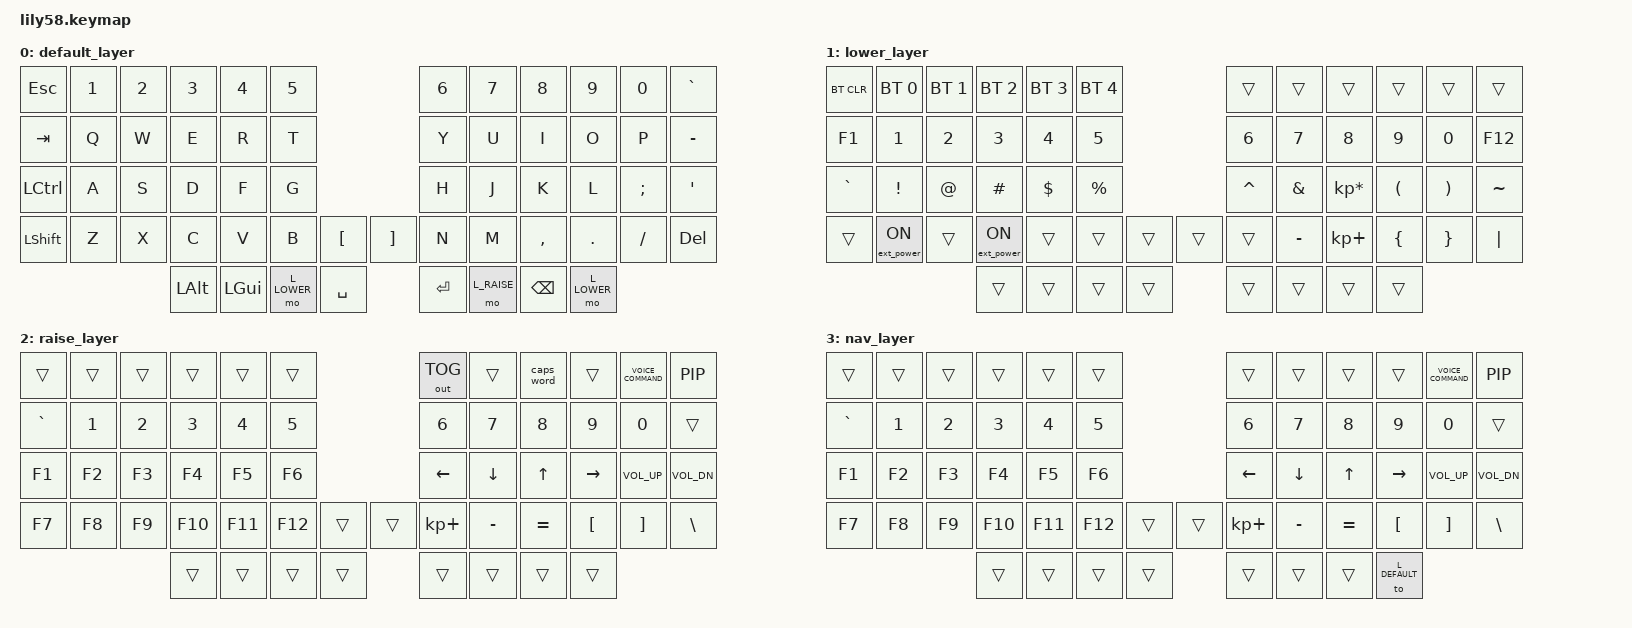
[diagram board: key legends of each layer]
/*
 * Copyright (c) 2020 The ZMK Contributors
 *
 * SPDX-License-Identifier: MIT
 */

#include <behaviors.dtsi>
#include <dt-bindings/zmk/keys.h>
#include <dt-bindings/zmk/bt.h>
#include <dt-bindings/zmk/ext_power.h>
#include <dt-bindings/zmk/outputs.h>

#define L_DEFAULT 0
#define L_LOWER   1
#define L_RAISE   2
#define L_NAV 	  3



// / {
//         ext-power {
//                 init-delay-ms = <50>;
//         };
// };
// &caps_word {
//     continue-list = <UNDERSCORE>;
// };

// &kscan0 {
//     debounce-scan-period-ms = <2>;
//  };

// &sk {
//     release-after-ms = <500>;
// };

/ {


	keymap {
		compatible = "zmk,keymap";

		default_layer {
			// ------------------------------------------------------------------------------------------------------------
			// |  ESC  |  1  |  2  |  3   |  4   |  5   |                   |  6   |  7    |  8    |  9   |   0   |   `   |
			// |  TAB  |  Q  |  W  |  E   |  R   |  T   |                   |  Y   |  U    |  I    |  O   |   P   |   -   |
			// |  CTRL |  A  |  S  |  D   |  F   |  G   |                   |  H   |  J    |  K    |  L   |   ;   |   '   |
			// | SHIFT |  Z  |  X  |  C   |  V   |  B   |   "["  |  |  "]"  |  N   |  M    |  ,    |  .   |   /   | SHIFT |
			//                     | ALT  | GUI  | LOWER|  SPACE |  | ENTER | RAISE| BSPC  | L_LOWER   |
						bindings = <
			&kp ESC    &kp N1 &kp N2 &kp N3   &kp N4   &kp N5                     &kp N6 &kp N7   &kp N8    &kp N9  &kp N0   &kp GRAVE
			&kp TAB    &kp Q  &kp W  &kp E    &kp R    &kp T                      &kp Y  &kp U    &kp I     &kp O   &kp P    &kp MINUS
			&kp LCTRL  &kp A  &kp S  &kp D    &kp F    &kp G                      &kp H  &kp J    &kp K     &kp L   &kp SEMI &kp SQT
			&kp LSHFT  &kp Z  &kp X  &kp C    &kp V    &kp B  &kp LBKT   &kp RBKT &kp N  &kp M    &kp COMMA &kp DOT &kp FSLH &kp DEL 
									&kp LALT  &kp LGUI &mo L_LOWER &kp SPACE  &kp RET  &mo L_RAISE &kp BSPC  &mo L_LOWER
						>;
		};


		
		lower_layer {
			// ------------------------------------------------------------------------------------------------------------
			// | BTCLR | BT1 | BT2 |  BT3 |  BT4 |  BT5 |                   |      |       |       |      |       |       |
			// |  F1   |  F2 |  F3 |  F4  |  F5  |  F6  |                   |  F7  |  F8   |  F9   |  F10 |  F11  |  F12  |
			// |   `   |  !  |  @  |  #   |  $   |  %   |                   |  ^   |  &    |  *    |  (   |   )   |   ~   |
			// |       |     |     |      |      |      |        |  |       |      |  _    |  +    |  {   |   }   |  "|"  |
			//                     |      |      |      |        |  |       |      |       |       |
						bindings = <
			&bt BT_CLR &bt BT_SEL 0     &bt BT_SEL 1      &bt BT_SEL 2      &bt BT_SEL 3 &bt BT_SEL 4                 &trans    &trans    &trans          &trans    &trans    &trans
			&kp F1     &kp N1           &kp N2            &kp N3            &kp N4       &kp N5                       &kp N6    &kp N7    &kp N8          &kp N9    &kp N0    &kp F12
			&kp GRAVE  &kp EXCL         &kp AT            &kp HASH          &kp DOLLAR   &kp PRCNT                    &kp CARET &kp AMPS  &kp KP_MULTIPLY &kp LPAR  &kp RPAR  &kp TILDE
			&trans     &ext_power EP_ON &trans &ext_power EP_ON &trans       &trans    &trans   &trans    &trans    &kp MINUS &kp KP_PLUS     &kp LBRC  &kp RBRC  &kp PIPE
														  &trans            &trans       &trans    &trans   &trans    &trans    &trans    &trans
						>;

		};


		raise_layer {
			// ------------------------------------------------------------------------------------------------------------
			// |       |     |     |      |      |      |                   |outTog|       |CapWord|      | voice |  pip  |
			// |   `   |  1  |  2  |  3   |  4   |  5   |                   |  6   |   7   |   8   |  9   |   0   |   stego    |
			// |   F1  |  F2 |  F3 |  F4  |  F5  |  F6  |                   | <-   |   V   |  ^    |  ->  | vol ^ | Vol V |
			// |   F7  |  F8 |  F9 |  F10 |  F11 |  F12 |        |  |       |  +   |   -   |   =   |  [   |   ]   |   \   |
			//                     |      |      |      |        |  |       |      |       |       |
						bindings = <
			&trans    &trans &trans &trans  &trans  &trans                       &out OUT_TOG &trans &caps_word    &trans    &kp C_VOICE_COMMAND          &kp C_PIP
			&kp GRAVE &kp N1 &kp N2 &kp N3  &kp N4  &kp N5                       &kp N6      &kp N7    &kp N8    &kp N9    &kp N0    	   &trans
			&kp F1    &kp F2 &kp F3 &kp F4  &kp F5  &kp F6                       &kp LEFT  	 &kp DOWN  &kp UP    &kp RIGHT &kp C_VOL_UP    &kp C_VOL_DN
			&kp F7    &kp F8 &kp F9 &kp F10 &kp F11 &kp F12   &trans   &trans    &kp KP_PLUS &kp MINUS &kp EQUAL &kp LBKT  &kp RBKT        &kp BSLH
									&trans  &trans  &trans    &trans   &trans    &trans      &trans    &trans
						>;
};

		nav_layer {
			// ------------------------------------------------------------------------------------------------------------
			// |       |     |     |      |      |      |                   |      |       |       |      | voice |  pip  |
			// |   `   |  1  |  2  |  3   |  4   |  5   |                   |  6   |   7   |   8   |  9   |   0   |       |
			// |   F1  |  F2 |  F3 |  F4  |  F5  |  F6  |                   | <-   |   V   |  ^    |  ->  | vol ^ | Vol V |
			// |   F7  |  F8 |  F9 |  F10 |  F11 |  F12 |        |  |       |  +   |   -   |   =   |  [   |   ]   |   \   |
			//                     |      |      |      |        |  |       |      |       |       |
						bindings = <
			&trans    &trans &trans &trans  &trans  &trans                       &trans      &trans    &trans    &trans    &kp C_VOICE_COMMAND          &kp C_PIP
			&kp GRAVE &kp N1 &kp N2 &kp N3  &kp N4  &kp N5                       &kp N6      &kp N7    &kp N8    &kp N9    &kp N0    	   &trans
			&kp F1    &kp F2 &kp F3 &kp F4  &kp F5  &kp F6                       &kp LEFT  	 &kp DOWN  &kp UP    &kp RIGHT &kp K_VOL_UP    &kp C_VOL_DN
			&kp F7    &kp F8 &kp F9 &kp F10 &kp F11 &kp F12   &trans   &trans    &kp KP_PLUS &kp MINUS &kp EQUAL &kp LBKT  &kp RBKT        &kp BSLH
									&trans  &trans  &trans    &trans   &trans    &trans      &trans    &to L_DEFAULT
						>;
			};

	};
};
